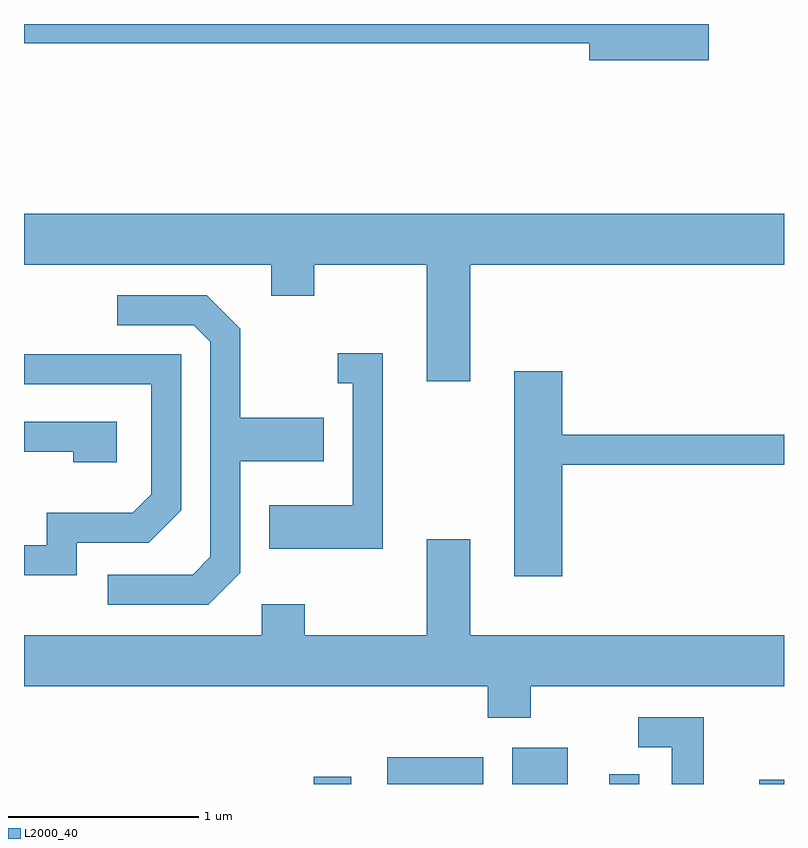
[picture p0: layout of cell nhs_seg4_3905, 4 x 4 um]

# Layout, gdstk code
import gdstk
lib = gdstk.Library(unit=1e-6, precision=1e-09)
def R(c, l, rs):  # rectangles x0, y0, x1, y1
    for r in rs: c.add(gdstk.rectangle(r[:2], r[2:], *l))
def P(c, l, *ps):  # polygons
    for p in ps: c.add(gdstk.Polygon(p, *l))
L2000_40 = (2000, 40)

nhs_seg4_3905 = lib.new_cell('nhs_seg4_3905')
R(nhs_seg4_3905, L2000_40, [(301.136,1311.982,301.334,1312.019), (301.523,1311.982,302.029,1312.124), (302.181,1311.982,302.474,1312.174), (302.691,1311.982,302.849,1312.033), (303.481,1311.982,303.611,1312.004)])
P(nhs_seg4_3905, L2000_40, [(303.214,1315.982),(299.611,1315.982),(299.611,1315.881),(302.586,1315.881),(302.586,1315.791),(303.214,1315.791)],
  [(301.959,1314.716),(303.611,1314.716),(303.611,1314.984),(299.611,1314.984),(299.611,1314.716),(300.911,1314.716),(300.911,1314.551),(301.139,1314.551),(301.139,1314.716),(301.731,1314.716),(301.731,1314.101),(301.959,1314.101)],
  [(300.749,1313.094),(300.749,1313.681),(301.189,1313.681),(301.189,1313.909),(300.749,1313.909),(300.749,1314.377),(300.572,1314.554),(300.103,1314.554),(300.103,1314.396),(300.504,1314.396),(300.591,1314.309),(300.591,1313.177),(300.499,1313.084),(300.053,1313.084),(300.053,1312.926),(300.582,1312.926)],
  [(301.499,1314.249),(301.263,1314.249),(301.263,1314.091),(301.341,1314.091),(301.341,1313.449),(300.901,1313.449),(300.901,1313.221),(301.499,1313.221)],
  [(299.889,1313.251),(300.267,1313.251),(300.439,1313.424),(300.439,1314.244),(299.611,1314.244),(299.611,1314.086),(300.281,1314.086),(300.281,1313.507),(300.184,1313.409),(299.731,1313.409),(299.731,1313.239),(299.611,1313.239),(299.611,1313.081),(299.889,1313.081)],
  [(302.444,1313.661),(303.611,1313.661),(303.611,1313.819),(302.444,1313.819),(302.444,1314.154),(302.191,1314.154),(302.191,1313.076),(302.444,1313.076)],
  [(300.099,1313.889),(299.611,1313.889),(299.611,1313.731),(299.871,1313.731),(299.871,1313.676),(300.099,1313.676)],
  [(302.279,1312.496),(303.611,1312.496),(303.611,1312.764),(301.959,1312.764),(301.959,1313.269),(301.731,1313.269),(301.731,1312.764),(301.089,1312.764),(301.089,1312.929),(300.861,1312.929),(300.861,1312.764),(299.611,1312.764),(299.611,1312.496),(302.051,1312.496),(302.051,1312.331),(302.279,1312.331)],
  [(303.189,1312.334),(302.843,1312.334),(302.843,1312.176),(303.021,1312.176),(303.021,1311.982),(303.189,1311.982)])

lib.write_gds('nhs_seg4_3905.gds')
